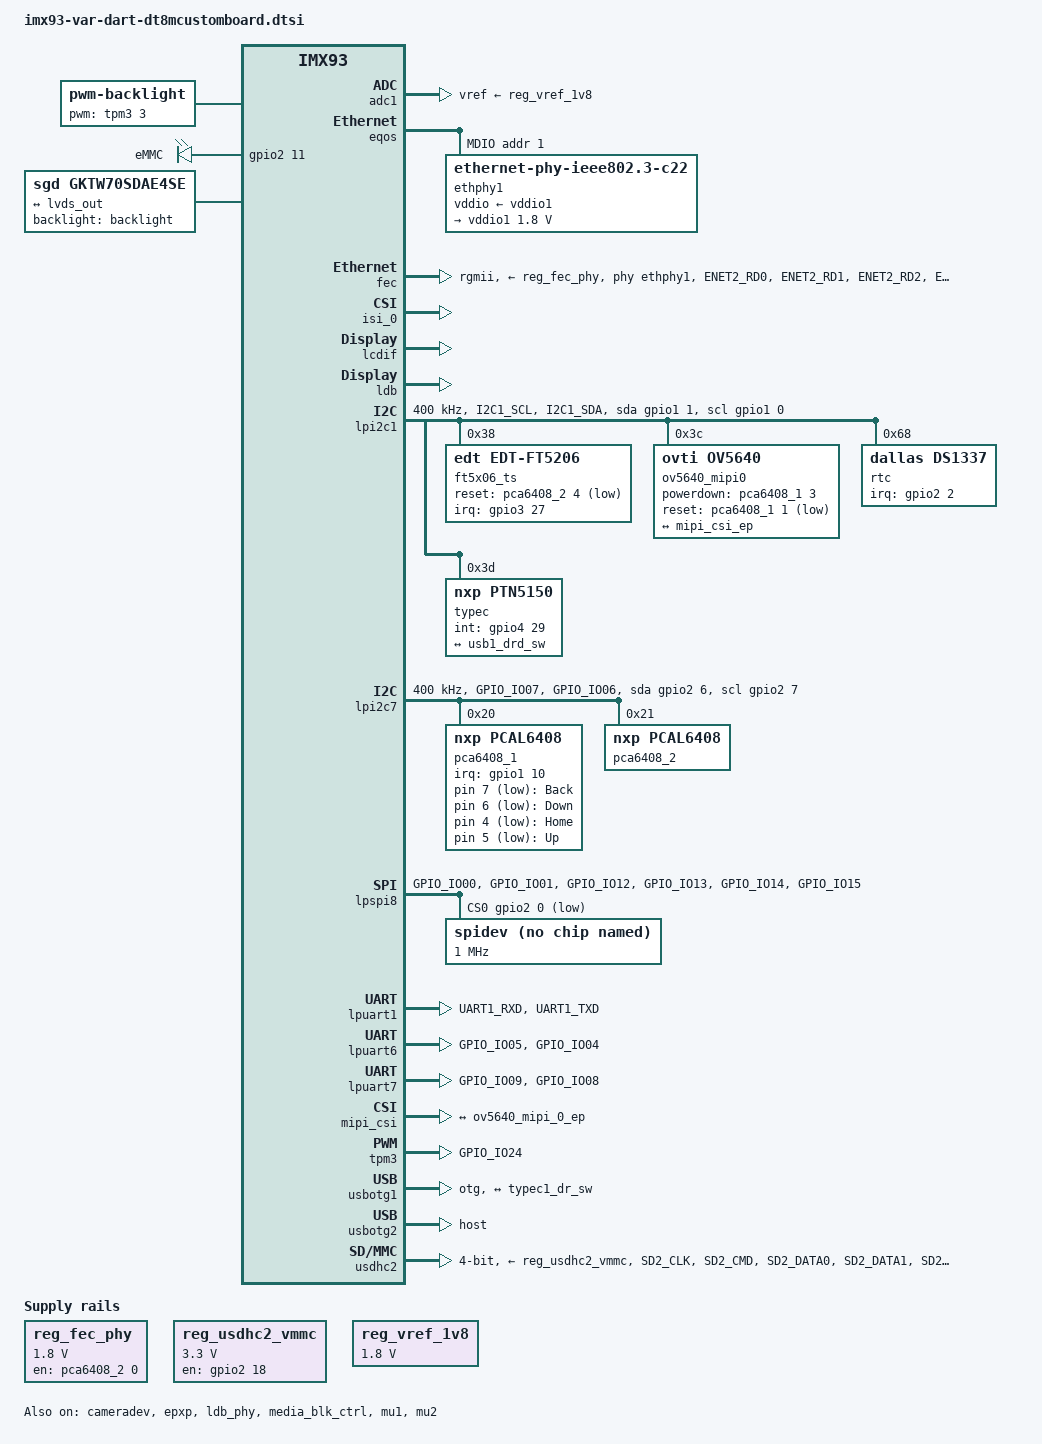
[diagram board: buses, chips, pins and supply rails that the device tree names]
// SPDX-License-Identifier: (GPL-2.0+ OR MIT)
/*
 * Copyright 2022 NXP
 * Copyright 2023-2024 Variscite Ltd.
 */

/ {
	aliases {
		ethernet0 = &eqos;
		ethernet1 = &fec;
	};

	backlight: backlight {
		compatible = "pwm-backlight";
		pwms = <&tpm3 3 1000000 0>;
		brightness-levels = < 0  1  2  3  4  5  6  7  8  9
				     10 11 12 13 14 15 16 17 18 19
				     20 21 22 23 24 25 26 27 28 29
				     30 31 32 33 34 35 36 37 38 39
				     40 41 42 43 44 45 46 47 48 49
				     50 51 52 53 54 55 56 57 58 59
				     60 61 62 63 64 65 66 67 68 69
				     70 71 72 73 74 75 76 77 78 79
				     80 81 82 83 84 85 86 87 88 89
				     90 91 92 93 94 95 96 97 98 99
				    100>;
		default-brightness-level = <80>;
		status = "okay";
	};

	chosen {
		stdout-path = &lpuart1;
	};

	clk_ov5640_fixed: clock {
		#clock-cells = <0>;
		compatible = "fixed-clock";
		clock-frequency = <24000000>;
	};

	cm33: imx93-cm33 {
		compatible = "fsl,imx93-cm33";
		mbox-names = "tx", "rx", "rxdb";
		mboxes = <&mu1 0 1
			  &mu1 1 1
			  &mu1 3 1>;
		memory-region = <&vdevbuffer>, <&vdev0vring0>, <&vdev0vring1>,
				<&vdev1vring0>, <&vdev1vring1>, <&rsc_table>;
		fsl,startup-delay-ms = <500>;
	};

	ethosu {
		compatible = "arm,ethosu";
		fsl,cm33-proc = <&cm33>;
		memory-region = <&ethosu_mem>;
		power-domains = <&mlmix>;
	};

	gpio-keys {
		compatible = "gpio-keys";
		status = "okay";

		back {
			label = "Back";
			linux,code = <KEY_BACK>;
			gpios = <&pca6408_1 7 GPIO_ACTIVE_LOW>;
			wakeup-source;
		};

		down {
			label = "Down";
			linux,code = <KEY_DOWN>;
			gpios = <&pca6408_1 6 GPIO_ACTIVE_LOW>;
			wakeup-source;
		};

		home {
			label = "Home";
			linux,code = <KEY_HOME>;
			gpios = <&pca6408_1 4 GPIO_ACTIVE_LOW>;
			wakeup-source;
		};

		up {
			label = "Up";
			linux,code = <KEY_UP>;
			gpios = <&pca6408_1 5 GPIO_ACTIVE_LOW>;
			wakeup-source;
		};
	};

	gpio-leds {
		compatible = "gpio-leds";
		pinctrl-names = "default";
		pinctrl-0 = <&pinctrl_gpio_leds>;
		status = "okay";

		emmc {
			label = "eMMC";
			gpios = <&gpio2 11 GPIO_ACTIVE_HIGH>;
			linux,default-trigger = "mmc0";
		};
	};

	lvds_panel {
		compatible = "sgd,gktw70sdae4se", "panel-lvds";
		backlight = <&backlight>;
		width-mm = <153>;
		height-mm = <87>;
		label = "gktw70sdae4se";
		data-mapping = "jeida-24";
		status = "okay";

		panel-timing {
			clock-frequency = <71000000>;
			hactive = <800>;
			vactive = <480>;
			hback-porch = <40>;
			hfront-porch = <40>;
			vback-porch = <29>;
			vfront-porch = <13>;
			hsync-len = <48>;
			vsync-len = <3>;
			hsync-active = <0>;
			vsync-active = <0>;
			de-active = <1>;
		};

		port {
			panel_lvds_in: endpoint {
				remote-endpoint = <&lvds_out>;
			};
		};
	};

	reg_fec_phy: regulator-fec-phy {
		compatible = "regulator-fixed";
		regulator-name = "fec-phy";
		regulator-min-microvolt = <1800000>;
		regulator-max-microvolt = <1800000>;
		regulator-enable-ramp-delay = <20000>;
		gpio = <&pca6408_2 0 GPIO_ACTIVE_HIGH>;
		enable-active-high;
		regulator-always-on;
	};

	reg_usdhc2_vmmc: regulator-usdhc2 {
		compatible = "regulator-fixed";
		pinctrl-names = "default";
		pinctrl-0 = <&pinctrl_reg_usdhc2_vmmc>;
		regulator-name = "VSD_3V3";
		regulator-min-microvolt = <3300000>;
		regulator-max-microvolt = <3300000>;
		gpio = <&gpio2 18 GPIO_ACTIVE_HIGH>;
		off-on-delay-us = <20000>;
		enable-active-high;
	};

	reg_vref_1v8: regulator-adc-vref {
		compatible = "regulator-fixed";
		regulator-name = "vref_1v8";
		regulator-min-microvolt = <1800000>;
		regulator-max-microvolt = <1800000>;
	};

	reserved-memory {
		#address-cells = <2>;
		#size-cells = <2>;
		ranges;

		ethosu_mem: ethosu_region@88000000 {
			compatible = "shared-dma-pool";
			reusable;
			reg = <0x0 0x88000000 0x0 0x8000000>;
		};

		vdev0vring0: vdev0vring0@87ee0000 {
			reg = <0 0x87ee0000 0 0x8000>;
			no-map;
		};

		vdev0vring1: vdev0vring1@87ee8000 {
			reg = <0 0x87ee8000 0 0x8000>;
			no-map;
		};

		vdev1vring0: vdev1vring0@87ef0000 {
			reg = <0 0x87ef0000 0 0x8000>;
			no-map;
		};

		vdev1vring1: vdev1vring1@87ef8000 {
			reg = <0 0x87ef8000 0 0x8000>;
			no-map;
		};

		rsc_table: rsc-table@2021e000 {
			reg = <0 0x2021e000 0 0x1000>;
			no-map;
		};

		vdevbuffer: vdevbuffer@87f00000 {
			compatible = "shared-dma-pool";
			reg = <0 0x87f00000 0 0x100000>;
			no-map;
		};

		ele_reserved: ele-reserved@87de0000 {
			compatible = "shared-dma-pool";
			reg = <0 0x87de0000 0 0x100000>;
			no-map;
		};
	};
};

&adc1 {
	vref-supply = <&reg_vref_1v8>;
	status = "okay";
};

/* Use external instead of internal RTC */
&bbnsm_rtc {
	status = "disabled";
};

&cameradev {
	status = "okay";
};

&ele_mu {
	memory-region = <&ele_reserved>;
};

&epxp {
	status = "okay";
};

&eqos {
	mdio {
		ethphy1: ethernet-phy@1 {
			compatible = "ethernet-phy-ieee802.3-c22";
			reg = <1>;
			at803x,eee-disabled;
			eee-broken-1000t;
			vddio-supply = <&vddio1>;

			vddio1: vddio-regulator {
				regulator-min-microvolt = <1800000>;
				regulator-max-microvolt = <1800000>;
			};
		};
	};
};

&fec {
	pinctrl-names = "default";
	pinctrl-0 = <&pinctrl_fec>;
	phy-mode = "rgmii";
	phy-handle = <&ethphy1>;
	phy-supply = <&reg_fec_phy>;
	status = "okay";
};

&flexcan1 {
	pinctrl-names = "default";
	pinctrl-0 = <&pinctrl_flexcan1>;
	status = "disabled";
};

&iomuxc {
	pinctrl_captouch: captouchgrp {
		fsl,pins = <
			MX93_PAD_CCM_CLKO2__GPIO3_IO27			0x31e
		>;
	};

	pinctrl_extcon: extcongrp {
		fsl,pins = <
			MX93_PAD_CCM_CLKO4__GPIO4_IO29			0x31e
		>;
	};

	pinctrl_fec: fecgrp {
		fsl,pins = <
			MX93_PAD_ENET2_RD0__ENET1_RGMII_RD0		0x57e
			MX93_PAD_ENET2_RD1__ENET1_RGMII_RD1		0x57e
			MX93_PAD_ENET2_RD2__ENET1_RGMII_RD2		0x57e
			MX93_PAD_ENET2_RD3__ENET1_RGMII_RD3		0x57e
			MX93_PAD_ENET2_RXC__ENET1_RGMII_RXC		0x5fe
			MX93_PAD_ENET2_RX_CTL__ENET1_RGMII_RX_CTL	0x57e
			MX93_PAD_ENET2_TD0__ENET1_RGMII_TD0		0x57e
			MX93_PAD_ENET2_TD1__ENET1_RGMII_TD1		0x57e
			MX93_PAD_ENET2_TD2__ENET1_RGMII_TD2		0x57e
			MX93_PAD_ENET2_TD3__ENET1_RGMII_TD3		0x57e
			MX93_PAD_ENET2_TXC__ENET1_RGMII_TXC		0x5fe
			MX93_PAD_ENET2_TX_CTL__ENET1_RGMII_TX_CTL	0x57e
		>;
	};

	pinctrl_flexcan1: flexcan1grp {
		fsl,pins = <
			MX93_PAD_PDM_CLK__CAN1_TX			0x139e
			MX93_PAD_PDM_BIT_STREAM0__CAN1_RX		0x139e
		>;
	};

	pinctrl_gpio_leds: ledgrp {
		fsl,pins = <
			MX93_PAD_GPIO_IO11__GPIO2_IO11			0x31e
		>;
	};

	pinctrl_lpi2c1: lpi2c1grp {
		fsl,pins = <
			MX93_PAD_I2C1_SCL__LPI2C1_SCL			0x40000b9e
			MX93_PAD_I2C1_SDA__LPI2C1_SDA			0x40000b9e
		>;
	};

	pinctrl_lpi2c1_gpio: lpi2c1grp-gpio {
		fsl,pins = <
			MX93_PAD_I2C1_SCL__GPIO1_IO00			0x31e
			MX93_PAD_I2C1_SDA__GPIO1_IO01			0x31e
		>;
	};

	pinctrl_lpi2c7: lpi2c7grp {
		fsl,pins = <
			MX93_PAD_GPIO_IO07__LPI2C7_SCL			0x40000b9e
			MX93_PAD_GPIO_IO06__LPI2C7_SDA			0x40000b9e
		>;
	};

	pinctrl_lpi2c7_gpio: lpi2c7grp-gpio {
		fsl,pins = <
			MX93_PAD_GPIO_IO07__GPIO2_IO07			0x31e
			MX93_PAD_GPIO_IO06__GPIO2_IO06			0x31e
		>;
	};

	pinctrl_lpspi8: lpspi8grp {
		fsl,pins = <
			MX93_PAD_GPIO_IO00__GPIO2_IO00			0x31e /* j14.2 spidev */
			MX93_PAD_GPIO_IO01__GPIO2_IO01			0x31e /* j14.4 MCP2518FDT */
			MX93_PAD_GPIO_IO12__GPIO2_IO12			0x31e /* j16.4 ADS7846 */
			MX93_PAD_GPIO_IO13__LPSPI8_SIN			0x31e
			MX93_PAD_GPIO_IO14__LPSPI8_SOUT			0x31e
			MX93_PAD_GPIO_IO15__LPSPI8_SCK			0x31e
		>;
	};

	pinctrl_pca6408: pca6408grp {
		fsl,pins = <
			MX93_PAD_PDM_BIT_STREAM1__GPIO1_IO10		0x31e
		>;
	};

	pinctrl_reg_usdhc2_vmmc: regusdhc2vmmcgrp {
		fsl,pins = <
			MX93_PAD_CCM_CLKO3__GPIO4_IO28			0x31e
		>;
	};

	pinctrl_rtc: rtcgrp {
		fsl,pins = <
			MX93_PAD_GPIO_IO02__GPIO2_IO02			0x31e
		>;
	};

	pinctrl_tpm3: tpm3grp {
		fsl,pins = <
			MX93_PAD_GPIO_IO24__TPM3_CH3			0x51e
		>;
	};

	pinctrl_uart1: uart1grp {
		fsl,pins = <
			MX93_PAD_UART1_RXD__LPUART1_RX			0x31e
			MX93_PAD_UART1_TXD__LPUART1_TX			0x31e
		>;
	};

	pinctrl_uart6: uart6grp {
		fsl,pins = <
			MX93_PAD_GPIO_IO05__LPUART6_RX			0x31e
			MX93_PAD_GPIO_IO04__LPUART6_TX			0x31e
		>;
	};

	pinctrl_uart7: uart7grp {
		fsl,pins = <
			MX93_PAD_GPIO_IO09__LPUART7_RX			0x31e
			MX93_PAD_GPIO_IO08__LPUART7_TX			0x31e
		>;
	};
	/* need to config the SION for data and cmd pad, refer to ERR052021 */
	pinctrl_usdhc2: usdhc2grp {
		fsl,pins = <
			MX93_PAD_SD2_CLK__USDHC2_CLK			0x1582
			MX93_PAD_SD2_CMD__USDHC2_CMD			0x40001382
			MX93_PAD_SD2_DATA0__USDHC2_DATA0		0x40001382
			MX93_PAD_SD2_DATA1__USDHC2_DATA1		0x40001382
			MX93_PAD_SD2_DATA2__USDHC2_DATA2		0x40001382
			MX93_PAD_SD2_DATA3__USDHC2_DATA3		0x40001382
			MX93_PAD_SD2_VSELECT__USDHC2_VSELECT		0x51e
		>;
	};

	/* need to config the SION for data and cmd pad, refer to ERR052021 */
	pinctrl_usdhc2_100mhz: usdhc2-100mhzgrp {
		fsl,pins = <
			MX93_PAD_SD2_CLK__USDHC2_CLK			0x158e
			MX93_PAD_SD2_CMD__USDHC2_CMD			0x4000138e
			MX93_PAD_SD2_DATA0__USDHC2_DATA0		0x4000138e
			MX93_PAD_SD2_DATA1__USDHC2_DATA1		0x4000138e
			MX93_PAD_SD2_DATA2__USDHC2_DATA2		0x4000138e
			MX93_PAD_SD2_DATA3__USDHC2_DATA3		0x4000138e
			MX93_PAD_SD2_VSELECT__USDHC2_VSELECT		0x51e
		>;
	};

	/* need to config the SION for data and cmd pad, refer to ERR052021 */
	pinctrl_usdhc2_200mhz: usdhc2-200mhzgrp {
		fsl,pins = <
			MX93_PAD_SD2_CLK__USDHC2_CLK			0x15fe
			MX93_PAD_SD2_CMD__USDHC2_CMD			0x400013fe
			MX93_PAD_SD2_DATA0__USDHC2_DATA0		0x400013fe
			MX93_PAD_SD2_DATA1__USDHC2_DATA1		0x400013fe
			MX93_PAD_SD2_DATA2__USDHC2_DATA2		0x400013fe
			MX93_PAD_SD2_DATA3__USDHC2_DATA3		0x400013fe
			MX93_PAD_SD2_VSELECT__USDHC2_VSELECT		0x51e
		>;
	};

	pinctrl_usdhc2_gpio: usdhc2gpiogrp {
		fsl,pins = <
			MX93_PAD_SD2_CD_B__GPIO3_IO00			0x31e
		>;
	};
};

&isi_0 {
	status = "okay";

	cap_device {
		status = "okay";
	};
};

&lcdif {
	status = "okay";
	assigned-clock-rates = <498000000>, <71142857>, <400000000>, <133333333>;
};

&ldb {
	status = "okay";

	lvds-channel@0 {
		status = "okay";

		port@1 {
			reg = <1>;

			lvds_out: endpoint {
				remote-endpoint = <&panel_lvds_in>;
			};
		};
	};
};

&ldb_phy {
	status = "okay";
};

&lpi2c1 {
	#address-cells = <1>;
	#size-cells = <0>;
	clock-frequency = <400000>;
	pinctrl-names = "default", "sleep", "gpio";
	pinctrl-0 = <&pinctrl_lpi2c1>;
	pinctrl-1 = <&pinctrl_lpi2c1_gpio>;
	pinctrl-2 = <&pinctrl_lpi2c1_gpio>;
	scl-gpios = <&gpio1 0 GPIO_ACTIVE_HIGH>;
	sda-gpios = <&gpio1 1 GPIO_ACTIVE_HIGH>;
	status = "okay";

	/* Capacitive touch controller */
	ft5x06_ts: ft5x06_ts@38 {
		compatible = "edt,edt-ft5206";
		reg = <0x38>;
		pinctrl-names = "default";
		pinctrl-0 = <&pinctrl_captouch>;
		reset-gpios = <&pca6408_2 4 GPIO_ACTIVE_LOW>;
		interrupt-parent = <&gpio3>;
		interrupts = <27 IRQ_TYPE_EDGE_FALLING>;
		touchscreen-size-x = <800>;
		touchscreen-size-y = <480>;
		touchscreen-inverted-x;
		touchscreen-inverted-y;
		wakeup-source;
		status = "okay";
	};

	ov5640_mipi0: ov5640_mipi@3c {
		compatible = "ovti,ov5640";
		reg = <0x3c>;
		clocks = <&clk_ov5640_fixed>;
		clock-names = "xclk";
		assigned-clock-rates = <24000000>;
		csi_id = <0>;
		powerdown-gpios = <&pca6408_1 3 GPIO_ACTIVE_HIGH>;
		reset-gpios = <&pca6408_1 1 GPIO_ACTIVE_LOW>;
		mclk = <24000000>;
		mclk_source = <0>;
		mipi_csi;
		status = "okay";

		port {
			ov5640_mipi_0_ep: endpoint {
				remote-endpoint = <&mipi_csi_ep>;
				data-lanes = <1 2>;
				bus-type = <4>;
			};
		};
	};

	/* DS1337 RTC module */
	rtc@68 {
		compatible = "dallas,ds1337";
		reg = <0x68>;
		pinctrl-names = "default";
		pinctrl-0 = <&pinctrl_rtc>;
		interrupt-parent = <&gpio2>;
		interrupts = <2 IRQ_TYPE_EDGE_FALLING>;
		wakeup-source;
		status = "okay";
	};

	/* USB Type-C Controller */
	typec@3d {
		reg = <0x3d>;
		compatible = "nxp,ptn5150";
		pinctrl-names = "default";
		pinctrl-0 = <&pinctrl_extcon>;
		int-gpios=<&gpio4 29 GPIO_ACTIVE_HIGH>;
		irq-is-id-quirk;
		status ="okay";

		port {
			typec1_dr_sw: endpoint {
				remote-endpoint = <&usb1_drd_sw>;
			};
		};
	};
};

&lpi2c7 {
	#address-cells = <1>;
	#size-cells = <0>;
	clock-frequency = <400000>;
	pinctrl-names = "default", "sleep", "gpio";
	pinctrl-0 = <&pinctrl_lpi2c7>;
	pinctrl-1 = <&pinctrl_lpi2c7_gpio>;
	pinctrl-2 = <&pinctrl_lpi2c7_gpio>;
	scl-gpios = <&gpio2 7 GPIO_ACTIVE_HIGH>;
	sda-gpios = <&gpio2 6 GPIO_ACTIVE_HIGH>;
	status = "okay";

	pca6408_1: gpio@20 {
		compatible = "nxp,pcal6408";
		standard-regs-fallback;
		reg = <0x20>;
		gpio-controller;
		#gpio-cells = <2>;
		pinctrl-names = "default";
		pinctrl-0 = <&pinctrl_pca6408>;
		interrupt-parent = <&gpio1>;
		interrupts = <10 IRQ_TYPE_EDGE_FALLING>;
	};

	pca6408_2: gpio@21 {
		compatible = "nxp,pcal6408";
		standard-regs-fallback;
		reg = <0x21>;
		gpio-controller;
		#gpio-cells = <2>;
	};
};

&lpspi8 {
	pinctrl-names = "default";
	pinctrl-0 = <&pinctrl_lpspi8>;
	cs-gpios = <&gpio2 0 GPIO_ACTIVE_LOW>; /* j14.2 */
	status = "okay";

	spidev@0 {
		reg = <0>;
		compatible = "var,spidev";
		spi-max-frequency = <1000000>;
		status = "okay";
	};
};

/* Console (J10) */
&lpuart1 {
	pinctrl-names = "default";
	pinctrl-0 = <&pinctrl_uart1>;
	status = "okay";
};

/* Header (J12.4, J12.6) */
&lpuart6 {
	pinctrl-names = "default";
	pinctrl-0 = <&pinctrl_uart6>;
	status = "okay";
};

/* Header (J12.11, J12.13) */
&lpuart7 {
	pinctrl-names = "default";
	pinctrl-0 = <&pinctrl_uart7>;
	status = "okay";
};

&media_blk_ctrl {
	status = "okay";
};

&mipi_csi {
	#address-cells = <1>;
	#size-cells = <0>;
	status = "okay";

	port@0 {
		reg = <0>;
		mipi_csi_ep: endpoint {
			remote-endpoint = <&ov5640_mipi_0_ep>;
			data-lanes = <2>;
			cfg-clk-range = <28>;
			hs-clk-range = <0x32>;
			bus-type = <4>;
		};
	};
};

&mu1 {
	status = "okay";
};

&mu2 {
	status = "okay";
};

&tpm3 {
	pinctrl-0 = <&pinctrl_tpm3>;
	pinctrl-names = "default";
	status = "okay";
};

&usbotg1 {
	dr_mode = "otg";
	picophy,pre-emp-curr-control = <3>;
	picophy,dc-vol-level-adjust = <7>;
	hnp-disable;
	srp-disable;
	adp-disable;
	usb-role-switch;
	role-switch-default-mode = "none";
	status = "okay";

	port {
		usb1_drd_sw: endpoint {
			remote-endpoint = <&typec1_dr_sw>;
		};
	};
};

&usbotg2 {
	disable-over-current;
	dr_mode = "host";
	status = "okay";
};

/* SD */
&usdhc2 {
	pinctrl-names = "default", "state_100mhz", "state_200mhz";
	pinctrl-0 = <&pinctrl_usdhc2>, <&pinctrl_usdhc2_gpio>;
	pinctrl-1 = <&pinctrl_usdhc2_100mhz>, <&pinctrl_usdhc2_gpio>;
	pinctrl-2 = <&pinctrl_usdhc2_200mhz>, <&pinctrl_usdhc2_gpio>;
	cd-gpios = <&gpio3 00 GPIO_ACTIVE_LOW>;
	vmmc-supply = <&reg_usdhc2_vmmc>;
	bus-width = <4>;
	status = "okay";
	no-sdio;
	no-mmc;
};
